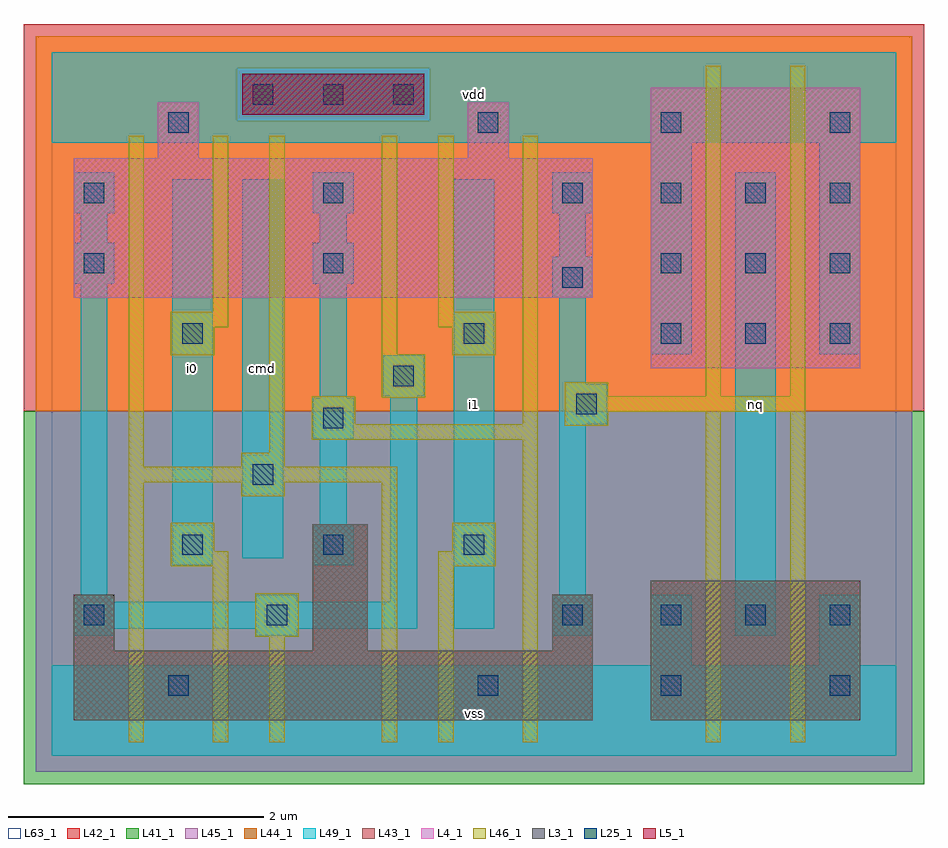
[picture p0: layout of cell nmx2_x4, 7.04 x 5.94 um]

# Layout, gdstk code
import gdstk
lib = gdstk.Library(unit=1e-6, precision=1e-09)
def R(c, l, rs):  # rectangles x0, y0, x1, y1
    for r in rs: c.add(gdstk.rectangle(r[:2], r[2:], *l))
def A(c, l, x, y, w, h, nx, ny, dx, dy):  # array of equal rectangles
    R(c, l, [(x+i*dx, y+j*dy, x+i*dx+w, y+j*dy+h) for i in range(nx) for j in range(ny)])
L3_1 = (3, 1)
L4_1 = (4, 1)
L5_1 = (5, 1)
L25_1 = (25, 1)
L41_1 = (41, 1)
L42_1 = (42, 1)
L43_1 = (43, 1)
L44_1 = (44, 1)
L45_1 = (45, 1)
L46_1 = (46, 1)
L49_1 = (49, 1)
L63_1 = (63, 1)

nmx2_x4 = lib.new_cell('nmx2_x4')
R(nmx2_x4, L3_1, [(0.17,0.28,4.23,0.82), (4.68,0.28,6.32,1.37), (0.17,0.82,0.49,1.26), (2.04,0.82,2.47,1.81), (3.91,0.82,4.23,1.26)])
R(nmx2_x4, L4_1, [(4.68,3.03,6.32,5.22), (0.17,3.58,4.23,4.67), (0.83,4.67,1.15,5.11), (3.25,4.67,3.57,5.11)])
R(nmx2_x4, L5_1, [(1.49,5.01,2.91,5.33)])
A(nmx2_x4, L25_1, 4.76, 1.02, 0.16, 0.16, 3, 2, 0.66, 2.2)
A(nmx2_x4, L25_1, 1.02, 1.57, 0.16, 0.16, 3, 1, 1.1, 0)
A(nmx2_x4, L25_1, 4.76, 3.77, 0.16, 0.16, 3, 2, 0.66, 0.55)
A(nmx2_x4, L25_1, 0.25, 4.32, 0.16, 0.16, 3, 1, 1.87, 0)
A(nmx2_x4, L25_1, 1.57, 5.09, 0.16, 0.16, 3, 1, 0.55, 0)
R(nmx2_x4, L25_1, [(0.91,0.47,1.07,0.63), (3.33,0.47,3.49,0.63), (4.76,0.47,4.92,0.63), (6.08,0.47,6.24,0.63), (0.25,1.02,0.41,1.18), (1.68,1.02,1.84,1.18), (3.99,1.02,4.15,1.18), (1.57,2.12,1.73,2.28), (2.12,2.56,2.28,2.72), (4.1,2.67,4.26,2.83), (2.67,2.89,2.83,3.05), (1.02,3.22,1.18,3.38), (3.22,3.22,3.38,3.38), (3.99,3.66,4.15,3.82), (0.25,3.77,0.41,3.93), (2.12,3.77,2.28,3.93), (0.91,4.87,1.07,5.03), (3.33,4.87,3.49,5.03), (4.76,4.87,4.92,5.03), (6.08,4.87,6.24,5.03)])
R(nmx2_x4, L41_1, [(-0.22,-0.22,6.82,2.695)])
R(nmx2_x4, L42_1, [(-0.22,2.695,6.82,5.72)])
R(nmx2_x4, L43_1, [(0.17,0.28,4.23,0.82), (4.68,0.28,6.32,1.37), (0.17,0.82,0.49,1.26), (2.04,0.82,2.47,1.81), (3.91,0.82,4.23,1.26), (4.68,3.03,6.32,5.22), (0.17,3.58,4.23,4.67), (0.83,4.67,1.15,5.11), (3.25,4.67,3.57,5.11), (1.49,5.01,2.91,5.33)])
R(nmx2_x4, L44_1, [(-0.125,2.695,6.725,4.965), (-0.125,4.965,1.445,5.375), (2.955,4.965,6.725,5.375), (-0.125,5.375,6.725,5.625)])
R(nmx2_x4, L45_1, [(-0.125,-0.125,6.725,2.695), (1.445,4.965,2.955,5.375)])
R(nmx2_x4, L46_1, [(0.6,0.105,0.72,2.14), (1.26,0.105,1.38,1.48), (1.7,0.105,1.82,0.93), (2.58,0.105,2.7,2.14), (3.02,0.105,3.14,1.48), (3.68,0.105,3.8,2.47), (5.11,0.105,5.23,2.69), (5.77,0.105,5.89,2.69), (1.59,0.93,1.93,1.27), (0.93,1.48,1.38,1.6), (3.02,1.48,3.47,1.6), (0.93,1.6,1.27,1.82), (3.13,1.6,3.47,1.82), (1.48,2.03,1.82,2.14), (0.6,2.14,2.7,2.26), (0.6,2.26,0.72,4.845), (1.48,2.26,1.82,2.37), (1.7,2.37,1.82,4.845), (2.03,2.47,3.8,2.59), (4.01,2.58,4.35,2.69), (2.03,2.59,2.37,2.81), (3.68,2.59,3.8,4.845), (4.01,2.69,5.89,2.81), (2.58,2.8,2.92,3.14), (4.01,2.81,4.35,2.92), (5.11,2.81,5.23,5.395), (5.77,2.81,5.89,5.395), (0.93,3.13,1.27,3.35), (3.13,3.13,3.47,3.35), (2.58,3.14,2.7,4.845), (0.93,3.35,1.38,3.47), (3.02,3.35,3.47,3.47), (1.26,3.47,1.38,4.845), (3.02,3.47,3.14,4.845)])
A(nmx2_x4, L49_1, 0.17, 4.24, 0.32, 0.32, 3, 1, 1.87, 0)
R(nmx2_x4, L49_1, [(0,0,6.6,0.71), (4.68,0.71,5,1.26), (6,0.71,6.32,1.26), (0.17,0.94,0.49,0.995), (1.6,0.94,1.92,0.995), (3.91,0.94,4.23,1.26), (5.34,0.94,5.66,4.56), (0.17,0.995,2.855,1.205), (3.14,0.995,3.46,4.505), (0.17,1.205,0.49,1.26), (1.6,1.205,1.92,1.26), (2.645,1.205,2.855,2.81), (0.225,1.26,0.435,3.69), (3.965,1.26,4.175,2.59), (0.94,1.49,1.26,4.505), (2.04,1.49,2.36,1.81), (1.49,1.545,1.81,4.505), (2.095,1.81,2.305,2.48), (2.04,2.48,2.36,2.8), (3.965,2.59,4.34,2.91), (2.095,2.8,2.305,3.69), (2.59,2.81,2.91,3.13), (3.965,2.91,4.175,3.58), (4.68,3.14,5,4.79), (6,3.14,6.32,4.79), (3.91,3.58,4.23,3.9), (0.17,3.69,0.49,4.01), (2.04,3.69,2.36,4.01), (3.965,3.9,4.175,4.24), (0.225,4.01,0.435,4.24), (2.095,4.01,2.305,4.24), (0,4.79,6.6,5.5)])
R(nmx2_x4, L63_1, [(0,0,6.6,5.5)])
nmx2_x4.add(gdstk.Label('i0', (1.1,3.025), layer=49, texttype=1))
nmx2_x4.add(gdstk.Label('i0', (1.1,3.025), layer=49, texttype=1))
nmx2_x4.add(gdstk.Label('cmd', (1.65,3.025), layer=49, texttype=1))
nmx2_x4.add(gdstk.Label('cmd', (1.65,3.025), layer=49, texttype=1))
nmx2_x4.add(gdstk.Label('vss', (3.3,0.33), layer=49, texttype=1))
nmx2_x4.add(gdstk.Label('vss', (3.3,0.33), layer=49, texttype=1))
nmx2_x4.add(gdstk.Label('i1', (3.3,2.75), layer=49, texttype=1))
nmx2_x4.add(gdstk.Label('i1', (3.3,2.75), layer=49, texttype=1))
nmx2_x4.add(gdstk.Label('vdd', (3.3,5.17), layer=49, texttype=1))
nmx2_x4.add(gdstk.Label('vdd', (3.3,5.17), layer=49, texttype=1))
nmx2_x4.add(gdstk.Label('nq', (5.5,2.75), layer=49, texttype=1))
nmx2_x4.add(gdstk.Label('nq', (5.5,2.75), layer=49, texttype=1))

lib.write_gds('nmx2_x4.gds')
